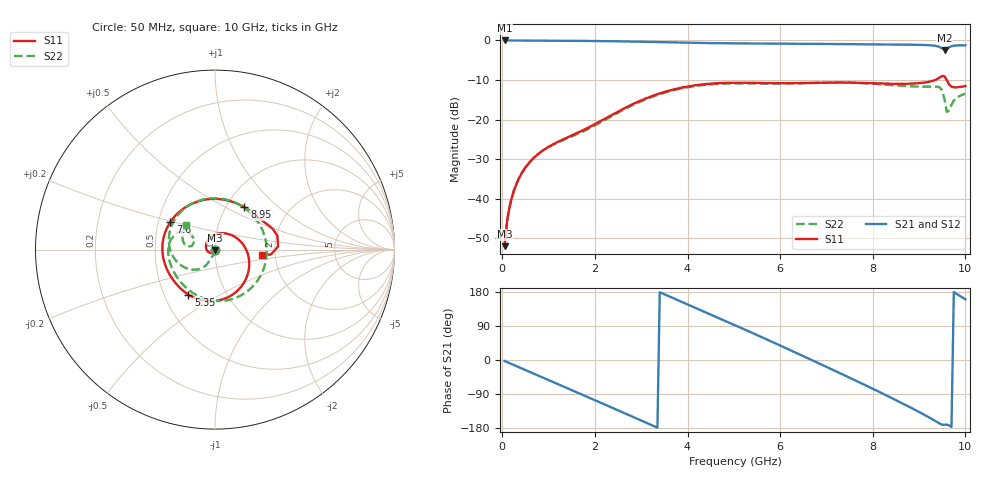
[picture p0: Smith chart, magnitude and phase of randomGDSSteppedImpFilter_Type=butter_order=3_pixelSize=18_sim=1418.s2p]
! freq	dB(S11)	phase(S11)	dB(S12)	phase(S12)
!  dB(S21)	phase(S21)	dB(S22)	phase(S22)
!S-par simulation data
#  GHz  S  DB  R 50
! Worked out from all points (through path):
!   200 points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, 50 MHz to 10 GHz, reference 50 ohm
!   highest |S21| = 0.00 dB at 50 MHz (marker M1); lowest = -2.4 dB at 9.55 GHz (marker M2)
!   group delay of S21, straight-line fit = 154 ps
!   lowest |S11| = -52.0 dB at 50 MHz (marker M3), VSWR 1.01, Z = 50 - j0.25 ohm
!   |S11| at or under -10 dB: start of sweep to 9.347 GHz; 9.596 GHz to end of sweep
!   |S22| runs from -52.0 to -10.6 dB; largest |S21 - S12| = 0
!   S11 on the Smith chart (normalised r, x): 50 MHz: 1.00, -0.01; 5.35 GHz: 0.66, -0.36; 7.6 GHz: 0.58, +0.19; 8.95 GHz: 1.22, +0.62; 10 GHz: 1.71, -0.12
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0.05  -52.03 -92.1  -0.00 -2.7  -0.00 -2.7  -51.98 -89.3
0.1  -46.01 -96.8  -0.01 -5.4  -0.01 -5.4  -45.95 -91.2
0.2  -39.97 -105.0  -0.02 -10.7  -0.02 -10.7  -39.90 -94.0
0.5  -32.16 -130.2  -0.03 -26.5  -0.03 -26.5  -32.05 -102.3
1.15  -25.95 170.4  -0.08 -60.9  -0.08 -60.9  -26.06 -114.9
1.75  -22.67 109.0  -0.13 -92.7  -0.13 -92.7  -22.98 -117.0
2.2  -19.89 64.2  -0.18 -116.8  -0.18 -116.8  -20.21 -119.3
2.65  -17.07 25.2  -0.25 -140.9  -0.25 -140.9  -17.33 -127.9
3.4  -13.39 -27.4  -0.43 178.8  -0.43 178.8  -13.59 -155.3
4.3  -11.16 -76.7  -0.65 130.8  -0.65 130.8  -11.33 158.4
5.05  -10.69 -109.4  -0.74 90.5  -0.74 90.5  -10.86 110.9
5.35  -10.71 -120.6  -0.76 74.2  -0.76 74.2  -10.87 89.5
6.1  -10.82 -145.8  -0.80 32.7  -0.80 32.7  -10.90 31.9
6.7  -10.72 -167.5  -0.86 -1.1  -0.86 -1.1  -10.74 -14.0
7.15  -10.64 172.6  -0.91 -26.7  -0.91 -26.7  -10.64 -45.3
7.6  -10.68 148.5  -0.96 -52.5  -0.96 -52.5  -10.72 -73.0
8.35  -10.95 98.8  -1.02 -96.7  -1.02 -96.7  -11.25 -112.7
8.95  -10.84 55.2  -1.10 -133.9  -1.10 -133.9  -11.65 -144.4
9.45  -9.32 19.6  -1.71 -168.0  -1.71 -168.0  -11.92 167.5
9.55  -9.07 2.9  -2.38 -171.0  -2.38 -171.0  -14.91 145.7
9.6  -10.07 -4.9  -2.16 -170.4  -2.16 -170.4  -18.08 153.8
10  -11.54 -6.8  -1.23 160.2  -1.23 160.2  -13.47 139.9
